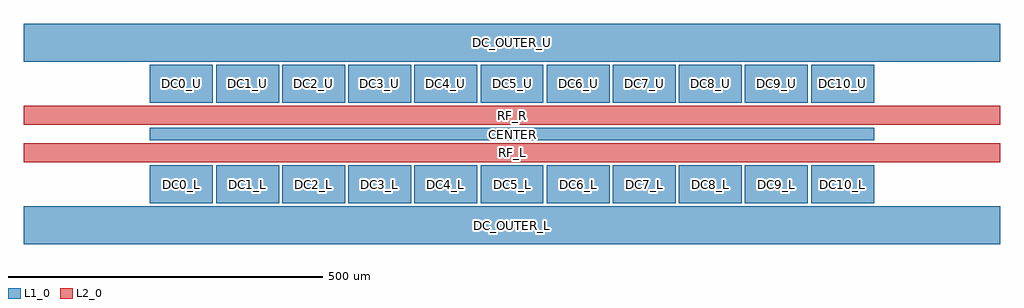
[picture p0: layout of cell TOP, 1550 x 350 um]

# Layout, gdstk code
import gdstk
lib = gdstk.Library(unit=1e-6, precision=1e-09)
def R(c, l, rs):  # rectangles x0, y0, x1, y1
    for r in rs: c.add(gdstk.rectangle(r[:2], r[2:], *l))
def A(c, l, x, y, w, h, nx, ny, dx, dy):  # array of equal rectangles
    R(c, l, [(x+i*dx, y+j*dy, x+i*dx+w, y+j*dy+h) for i in range(nx) for j in range(ny)])
L1_0 = (1, 0)
L2_0 = (2, 0)

top = lib.new_cell('TOP')
A(top, L1_0, -575, -110, 100, 60, 11, 2, 105, 160)
R(top, L1_0, [(-775,-175,775,-115), (-575,-10,575,10), (-775,115,775,175)])
R(top, L2_0, [(-775,-45,775,-15), (-775,15,775,45)])
top.add(gdstk.Label('RF_R', (0,30), layer=10, texttype=0))
top.add(gdstk.Label('RF_L', (0,-30), layer=10, texttype=0))
top.add(gdstk.Label('CENTER', (0,0), layer=10, texttype=0))
top.add(gdstk.Label('DC0_U', (-525,80), layer=10, texttype=0))
top.add(gdstk.Label('DC0_L', (-525,-80), layer=10, texttype=0))
top.add(gdstk.Label('DC1_U', (-420,80), layer=10, texttype=0))
top.add(gdstk.Label('DC1_L', (-420,-80), layer=10, texttype=0))
top.add(gdstk.Label('DC2_U', (-315,80), layer=10, texttype=0))
top.add(gdstk.Label('DC2_L', (-315,-80), layer=10, texttype=0))
top.add(gdstk.Label('DC3_U', (-210,80), layer=10, texttype=0))
top.add(gdstk.Label('DC3_L', (-210,-80), layer=10, texttype=0))
top.add(gdstk.Label('DC4_U', (-105,80), layer=10, texttype=0))
top.add(gdstk.Label('DC4_L', (-105,-80), layer=10, texttype=0))
top.add(gdstk.Label('DC5_U', (0,80), layer=10, texttype=0))
top.add(gdstk.Label('DC5_L', (0,-80), layer=10, texttype=0))
top.add(gdstk.Label('DC6_U', (105,80), layer=10, texttype=0))
top.add(gdstk.Label('DC6_L', (105,-80), layer=10, texttype=0))
top.add(gdstk.Label('DC7_U', (210,80), layer=10, texttype=0))
top.add(gdstk.Label('DC7_L', (210,-80), layer=10, texttype=0))
top.add(gdstk.Label('DC8_U', (315,80), layer=10, texttype=0))
top.add(gdstk.Label('DC8_L', (315,-80), layer=10, texttype=0))
top.add(gdstk.Label('DC9_U', (420,80), layer=10, texttype=0))
top.add(gdstk.Label('DC9_L', (420,-80), layer=10, texttype=0))
top.add(gdstk.Label('DC10_U', (525,80), layer=10, texttype=0))
top.add(gdstk.Label('DC10_L', (525,-80), layer=10, texttype=0))
top.add(gdstk.Label('DC_OUTER_U', (0,145), layer=10, texttype=0))
top.add(gdstk.Label('DC_OUTER_L', (0,-145), layer=10, texttype=0))

lib.write_gds('TOP.gds')
